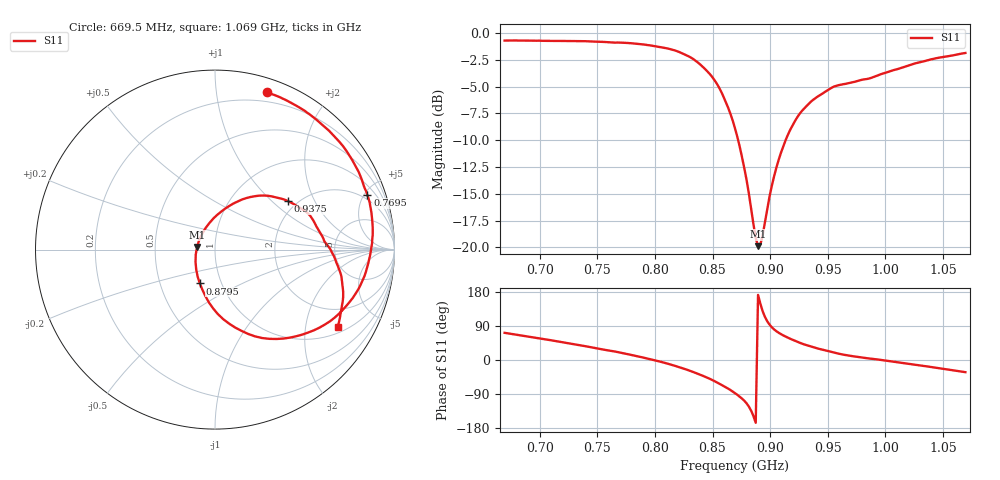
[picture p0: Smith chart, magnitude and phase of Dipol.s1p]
#  HZ  S  RI  R  50.00
! Rohde & Schwarz Vector Network Analyzer
! Rohde-Schwarz,ZNB8-2Port,1311601042102944,2.30
! Created: UTC 3/16/2026, 1:11:39 PM
! freq[Hz]  re:S22  im:S22
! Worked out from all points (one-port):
!   201 points, 669.5 MHz to 1.069 GHz, reference 50 ohm
!   lowest |S11| = -19.9 dB at 889.5 MHz (marker M1), VSWR 1.23, Z = 40.9 + j1.19 ohm
!   |S11| at or under -10 dB: 872.2 MHz to 913.4 MHz (41.22 MHz wide, 4.62 % of centre)
!   S11 on the Smith chart (normalised r, x): 669.5 MHz: 0.12, +1.38; 769.5 MHz: 1.62, +5.28; 879.5 MHz: 0.79, -0.31; 937.5 MHz: 1.79, +1.27; 1.069 GHz: 1.23, -3.02
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6.695e8  0.2896 0.8753
6.935e8  0.4593 0.7981
7.195e8  0.6247 0.6726
7.455e8  0.7642 0.4995
7.695e8  0.8492 0.3042
7.955e8  0.8752 0.0364
8.095e8  0.8407 -0.1236
8.195e8  0.7833 -0.2456
8.335e8  0.6399 -0.3999
8.415e8  0.5199 -0.4618
8.495e8  0.3821 -0.4954
8.575e8  0.2231 -0.4835
8.695e8  0.0155 -0.3587
8.795e8  -0.0845 -0.1888
8.875e8  -0.1072 -0.0272
8.895e8  -0.1002 0.0144
8.915e8  -0.0881 0.0533
8.935e8  -0.0713 0.0888
8.995e8  -0.01 0.1725
9.055e8  0.0577 0.229
9.135e8  0.1502 0.279
9.195e8  0.2216 0.2974
9.375e8  0.407 0.2701
9.555e8  0.53 0.189
9.695e8  0.5747 0.1123
1.0195e9  0.6938 -0.1153
1.0435e9  0.714 -0.2643
1.0695e9  0.6834 -0.4287
